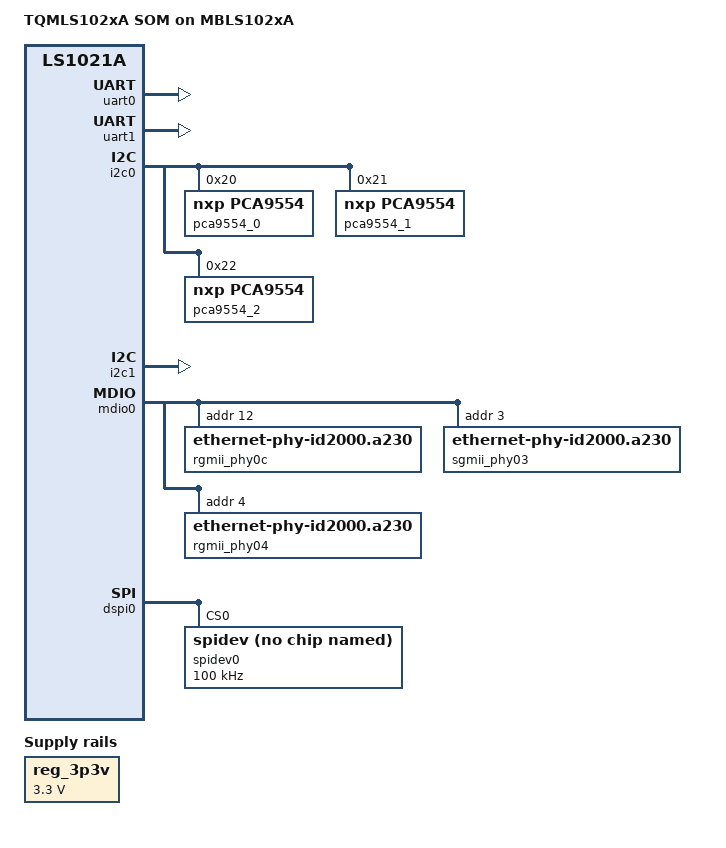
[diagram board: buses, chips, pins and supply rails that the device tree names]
/*
 * Copyright 2013-2014 Freescale Semiconductor, Inc.
 *
 * This program is free software; you can redistribute it and/or modify
 * it under the terms of the GNU General Public License as published by
 * the Free Software Foundation; either version 2 of the License, or
 * (at your option) any later version.
 */

/dts-v1/;
#include <dt-bindings/net/ti-dp83867.h>
#include <dt-bindings/gpio/gpio.h>
#include "ls1021a-tqmls1021a.dtsi"

/ {
	model = "TQMLS102xA SOM on MBLS102xA";

	aliases {
		enet0_rgmii_phy = &rgmii_phy0c;
		enet1_sgmii_phy = &sgmii_phy03;
		enet2_rgmii_phy = &rgmii_phy04;
		spi1 = &dspi0;
		i2c1 = &i2c1;
	};

	regulators {
		compatible = "simple-bus";
		#address-cells = <1>;
		#size-cells = <0>;

		reg_3p3v: regulator@1 {
			compatible = "regulator-fixed";
			reg = <1>;
			regulator-name = "3P3V";
			regulator-min-microvolt = <3300000>;
			regulator-max-microvolt = <3300000>;
			regulator-always-on;
		};
	};
};

&uart0 {
	status = "okay";
};

&uart1 {
	status = "okay";
};

&i2c0 {
	status = "okay";

	pca9554_0: pca9554@20 {
		compatible = "nxp,pca9554";
		reg = <0x20>;

		interrupt-controller;
		#interrupt-cells = <2>;

		gpio-controller;
		#gpio-cells = <2>;

		status = "okay";
	};

	pca9554_1: pca9554@21 {
		compatible = "nxp,pca9554";
		reg = <0x21>;

		interrupt-controller;
		#interrupt-cells = <2>;

		gpio-controller;
		#gpio-cells = <2>;

		status = "okay";
	};

	pca9554_2: pca9554@22 {
		compatible = "nxp,pca9554";
		reg = <0x22>;

		gpio-controller;
		#gpio-cells = <2>;

		status = "okay";
	};
};

&i2c1 {
	status = "okay";
};

&mdio0 {
	rgmii_phy0c: ethernet-phy@0c {
		compatible = "ethernet-phy-id2000.a230",
			"ethernet-phy-ieee802.3-c22";
		reg = <0x0c>;
		ti,rx-internal-delay = <DP83867_RGMIIDCTL_2_50_NS>;
		ti,tx-internal-delay = <DP83867_RGMIIDCTL_2_00_NS>;
		ti,led-cfg1 = <0x6b90>;
		ti,led-cfg2 = <0x0000>;
		ti,led-cfg3 = <0x0001>;
		ti,fifo-depth = <DP83867_PHYCR_FIFO_DEPTH_4_B_NIB>;
	};
	sgmii_phy03: ethernet-phy@03 {
		compatible = "ethernet-phy-id2000.a230",
			"ethernet-phy-ieee802.3-c22";
		reg = <0x03>;
		ti,led-cfg1 = <0x6b90>;
		ti,led-cfg2 = <0x0000>;
		ti,led-cfg3 = <0x0001>;
		ti,fifo-depth = <DP83867_PHYCR_FIFO_DEPTH_4_B_NIB>;
		ti,dp83867-rxctrl-strap-quirk;
	};
	rgmii_phy04: ethernet-phy@04 {
		compatible = "ethernet-phy-id2000.a230",
			"ethernet-phy-ieee802.3-c22";
		reg = <0x04>;
		ti,rx-internal-delay = <DP83867_RGMIIDCTL_2_50_NS>;
		ti,tx-internal-delay = <DP83867_RGMIIDCTL_2_00_NS>;
		ti,led-cfg1 = <0x6b90>;
		ti,led-cfg2 = <0x0000>;
		ti,led-cfg3 = <0x0001>;
		ti,fifo-depth = <DP83867_PHYCR_FIFO_DEPTH_4_B_NIB>;
	};
};

&dspi0 {
	bus-num = <0>;
	status = "okay";

	spidev0: spidev@0 {
		compatible = "rohm,dh2228fv";
		reg = <0>;
		spi-max-frequency = <100000>;
	};
};
